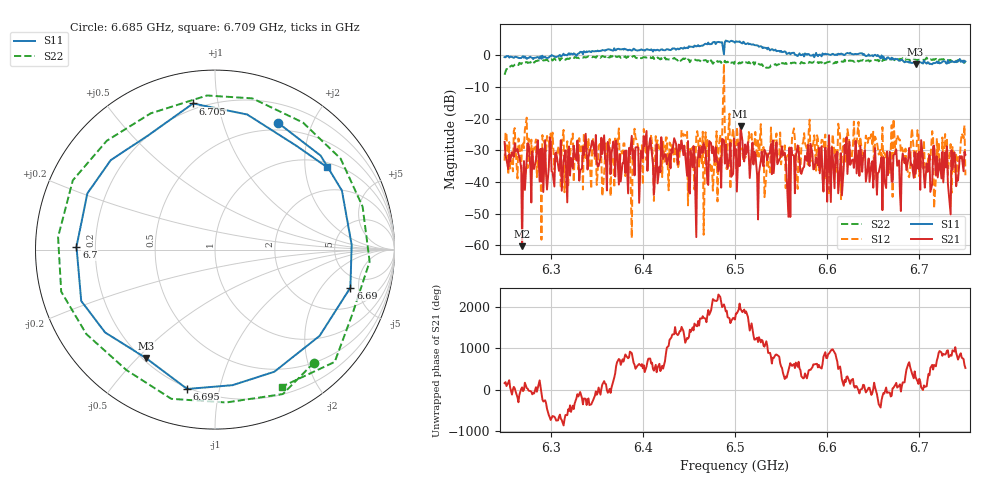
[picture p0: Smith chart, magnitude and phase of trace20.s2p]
# Hz S RI R 50
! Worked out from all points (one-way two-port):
!   401 points, 6.25 GHz to 6.75 GHz, reference 50 ohm
!   highest |S21| = -22.50 dB at 6.506 GHz (marker M1); lowest = -60.3 dB at 6.269 GHz (marker M2)
!   lowest |S11| = -2.9 dB at 6.696 GHz (marker M3), VSWR 6.05, Z = 10.7 - j26.5 ohm
!   |S11| at or under -10 dB: nowhere
!   |S22| runs from -6.1 to -0.1 dB; largest |S21 - S12| = 0.75
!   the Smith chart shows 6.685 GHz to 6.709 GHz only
!   S11 on the Smith chart (normalised r, x): 6.685 GHz: 0.41, +1.53; 6.69 GHz: 3.68, -4.03; 6.695 GHz: 0.19, -0.80; 6.7 GHz: 0.13, +0.01; 6.705 GHz: 0.17, +0.85; 6.709 GHz: 1.13, +2.59
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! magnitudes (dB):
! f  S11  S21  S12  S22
! 6.25 GHz  -0.6  -27.4  -33.3  -6.1
! 6.269 GHz  -0.6  -60.3  -27.4  -2.5
! 6.288 GHz  -1.0  -39.9  -31.7  -1.7
! 6.294 GHz  -0.5  -26.8  -28.2  -1.6
! 6.334 GHz  1.0  -35.8  -28.7  -0.8
! 6.418 GHz  1.4  -35.2  -29.6  -1.1
! 6.476 GHz  4.1  -28.8  -42.8  -2.7
! 6.486 GHz  4.1  -26.4  -25.9  -2.0
! 6.5 GHz  4.0  -31.6  -28.5  -2.0
! 6.506 GHz  4.0  -22.5  -29.2  -2.6
! 6.552 GHz  1.0  -31.7  -31.0  -2.5
! 6.558 GHz  0.6  -51.0  -31.2  -2.6
! 6.584 GHz  -0.1  -31.2  -28.7  -2.4
! 6.668 GHz  -1.1  -30.5  -37.4  -1.4
! 6.685 GHz  -2.1  -32.5  -29.5  -1.5
! 6.69 GHz  -2.1  -31.5  -36.2  -1.6
! 6.695 GHz  -2.0  -30.6  -39.2  -1.1
! 6.696 GHz  -2.9  -37.4  -34.4  -1.4
! 6.7 GHz  -2.2  -30.4  -38.2  -1.2
! 6.705 GHz  -1.7  -38.1  -26.8  -1.3
! 6.709 GHz  -2.2  -36.8  -34.4  -1.4
! 6.75 GHz  -2.0  -31.4  -37.9  -2.1
